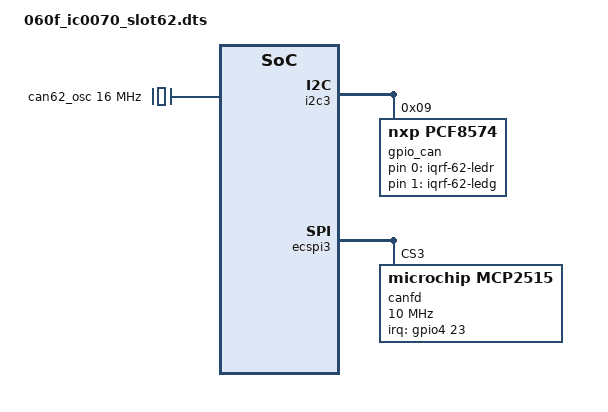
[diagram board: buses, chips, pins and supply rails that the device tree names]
/dts-v1/;


/plugin/;

/ {
	fragment@0 {
		target = <&i2c3>;
		__overlay__ {
			#address-cells = <1>;
			#size-cells = <0>;
			gpio_can: pca9501@9 {
				compatible = "nxp,pcf8574";
				gpio-controller;
				#gpio-cells = <2>;
				reg = <9>;
				gpio-line-names = "SLOT62_IQRF_BTN",
					"SLOT62_CANFD_LED0",
					"SLOT62_CANFD_LED1",
					"SLOT62_CANFD_RESET_N";
			};
		};
	};

	fragment@1 {
		target = <&ecspi3>;
		__overlay__ {
			status = "okay";
			#address-cells = <1>;
			#size-cells = <0>;

			canfd: spi@3 {
				compatible = "microchip,mcp2515";
				reg = <3>;
				status = "okay";
				spi-max-frequency = <10000000>;
				clocks = <&can62_osc>;
				pinctrl-names = "default";
				pinctrl-0 = <&pinctrl_slotirq2>;
				interrupt-parent = <&gpio4>;
				interrupts = <23 0>;
			};
		};
	};

	fragment@4 {
		target-path = "/";
		__overlay__ {
			led_slot62 {
				compatible = "gpio-leds";
				iqrf-led@1 {
					label = "iqrf-62-ledr";
					gpios = <&gpio_can 0 0>;
					default-state = "off";
					color = <1>;
				};
				iqrf-led@2 {
					label = "iqrf-62-ledg";
					gpios = <&gpio_can 1 0>;
					default-state = "off";
					color = <2>;
				};
			};
		}; 
	};

   fragment@5 {
       target-path = "/";
       __overlay__ {
           /* external oscillator of mcp2515 */
           can62_osc: can62_osc {
               compatible = "fixed-clock";
               #clock-cells = <0>;
               clock-frequency  = <16000000>;
           };
       };
   };

};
